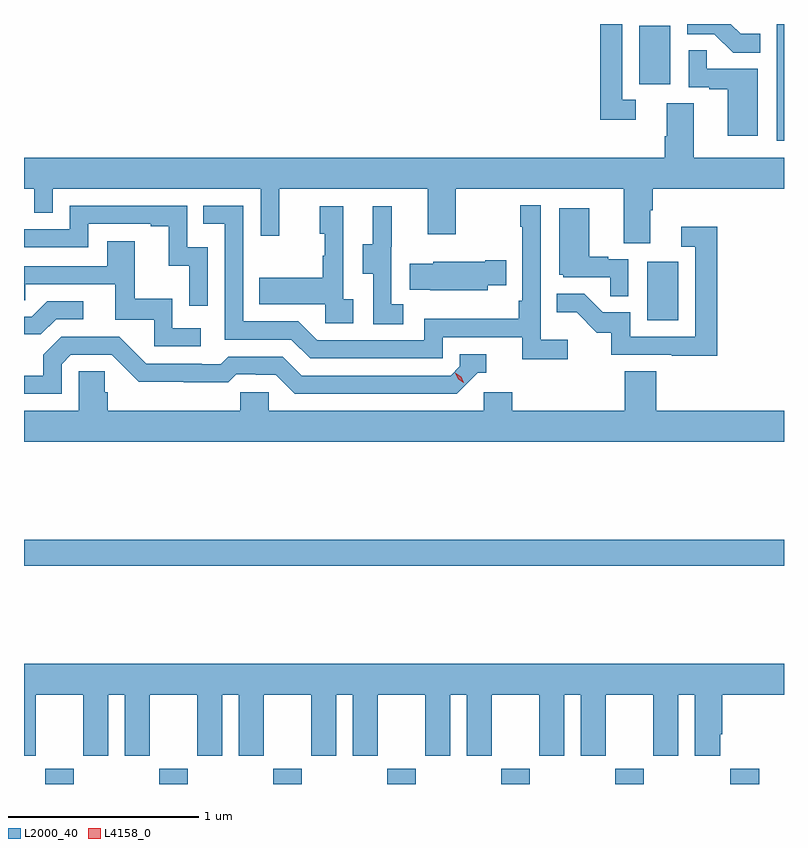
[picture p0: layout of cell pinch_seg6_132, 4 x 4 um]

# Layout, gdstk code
import gdstk
lib = gdstk.Library(unit=1e-6, precision=1e-09)
def R(c, l, rs):  # rectangles x0, y0, x1, y1
    for r in rs: c.add(gdstk.rectangle(r[:2], r[2:], *l))
def A(c, l, x, y, w, h, nx, ny, dx, dy):  # array of equal rectangles
    R(c, l, [(x+i*dx, y+j*dy, x+i*dx+w, y+j*dy+h) for i in range(nx) for j in range(ny)])
def P(c, l, *ps):  # polygons
    for p in ps: c.add(gdstk.Polygon(p, *l))
L2000_40 = (2000, 40)
L4158_0 = (4158, 0)

pinch_seg6_132 = lib.new_cell('pinch_seg6_132')
A(pinch_seg6_132, L2000_40, 950.073, 933.547, 0.15, 0.081, 6, 1, 0.6, 0)
R(pinch_seg6_132, L2000_40, [(953.677,933.547,953.831,933.628), (949.961,934.696,953.961,934.832), (953.24,935.988,953.404,936.295), (953.922,936.933,953.961,937.547), (953.198,937.23,953.362,937.537)])
P(pinch_seg6_132, L2000_40, [(953.182,937.149),(953.109,937.149),(953.109,937.547),(952.993,937.547),(952.993,937.044),(953.182,937.044)],
  [(953.837,937.495),(953.733,937.495),(953.681,937.547),(953.451,937.547),(953.451,937.494),(953.595,937.494),(953.693,937.396),(953.837,937.396)],
  [(953.824,937.311),(953.555,937.311),(953.555,937.409),(953.46,937.409),(953.46,937.215),(953.567,937.215),(953.567,937.203),(953.666,937.203),(953.666,936.96),(953.824,936.96)],
  [(953.257,936.568),(953.27,936.568),(953.27,936.68),(953.961,936.68),(953.961,936.844),(953.485,936.844),(953.485,937.13),(953.345,937.13),(953.345,936.956),(953.333,936.956),(953.333,936.844),(949.961,936.844),(949.961,936.68),(950.016,936.68),(950.016,936.553),(950.112,936.553),(950.112,936.68),(951.207,936.68),(951.207,936.432),(951.305,936.432),(951.305,936.68),(952.085,936.68),(952.085,936.441),(952.233,936.441),(952.233,936.68),(953.117,936.68),(953.117,936.394),(953.257,936.394)],
  [(952.822,935.884),(952.68,935.884),(952.68,936.592),(952.572,936.592),(952.572,936.479),(952.584,936.479),(952.584,936.091),(952.564,936.091),(952.564,935.995),(952.068,935.995),(952.068,935.883),(951.504,935.883),(951.405,935.982),(951.114,935.982),(951.114,936.591),(950.905,936.591),(950.905,936.495),(951.018,936.495),(951.018,935.886),(951.368,935.886),(951.467,935.787),(952.164,935.787),(952.164,935.898),(952.583,935.898),(952.583,935.782),(952.822,935.782)],
  [(950.928,936.372),(950.82,936.372),(950.82,936.591),(950.202,936.591),(950.202,936.468),(949.961,936.468),(949.961,936.372),(950.298,936.372),(950.298,936.495),(950.627,936.495),(950.627,936.483),(950.723,936.483),(950.723,936.275),(950.832,936.275),(950.832,936.063),(950.928,936.063)],
  [(951.958,936.071),(951.894,936.071),(951.894,936.375),(951.896,936.375),(951.896,936.589),(951.797,936.589),(951.797,936.387),(951.743,936.387),(951.743,936.232),(951.798,936.232),(951.798,935.968),(951.958,935.968)],
  [(951.694,936.098),(951.642,936.098),(951.642,936.589),(951.518,936.589),(951.518,936.444),(951.544,936.444),(951.544,936.326),(951.534,936.326),(951.534,936.211),(951.199,936.211),(951.199,936.071),(951.546,936.071),(951.546,935.973),(951.694,935.973)],
  [(953.142,936.309),(953.036,936.309),(953.036,936.322),(952.936,936.322),(952.936,936.577),(952.778,936.577),(952.778,936.228),(952.8,936.228),(952.8,936.213),(953.047,936.213),(953.047,936.115),(953.142,936.115)],
  [(953.609,936.481),(953.421,936.481),(953.421,936.375),(953.493,936.375),(953.493,935.901),(953.151,935.901),(953.151,936.03),(953.007,936.03),(952.909,936.128),(952.765,936.128),(952.765,936.029),(952.869,936.029),(952.976,935.922),(953.053,935.922),(953.053,935.805),(953.371,935.805),(953.371,935.8),(953.609,935.8)],
  [(950.89,935.946),(950.742,935.946),(950.742,936.1),(950.543,936.1),(950.543,936.403),(950.399,936.403),(950.399,936.273),(949.961,936.273),(949.961,936.093),(949.967,936.093),(949.967,936.177),(950.441,936.177),(950.441,935.991),(950.646,935.991),(950.646,935.85),(950.89,935.85)],
  [(952.401,936.173),(952.499,936.173),(952.499,936.303),(952.388,936.303),(952.388,936.295),(952.116,936.295),(952.116,936.286),(951.991,936.286),(951.991,936.149),(952.099,936.149),(952.099,936.146),(952.401,936.146)],
  [(950.13,935.994),(950.272,935.994),(950.272,936.087),(950.084,936.087),(950.003,936.006),(949.961,936.006),(949.961,935.914),(950.05,935.914)],
  [(950.16,935.757),(950.208,935.805),(950.424,935.805),(950.566,935.663),(950.802,935.663),(950.802,935.661),(951.035,935.661),(951.077,935.703),(951.18,935.703),(951.18,935.7),(951.287,935.7),(951.386,935.601),(952.239,935.601),(952.35,935.712),(952.393,935.712),(952.393,935.808),(952.254,935.808),(952.254,935.745),(952.206,935.697),(951.423,935.697),(951.324,935.796),(951.035,935.796),(950.996,935.757),(950.897,935.757),(950.897,935.76),(950.604,935.76),(950.463,935.901),(950.157,935.901),(950.063,935.807),(950.063,935.697),(949.961,935.697),(949.961,935.601),(950.16,935.601)],
  [(953.961,935.512),(953.288,935.512),(953.288,935.72),(953.123,935.72),(953.123,935.512),(952.532,935.512),(952.532,935.61),(952.38,935.61),(952.38,935.512),(951.249,935.512),(951.249,935.61),(951.099,935.61),(951.099,935.512),(950.402,935.512),(950.402,935.61),(950.387,935.61),(950.387,935.72),(950.25,935.72),(950.25,935.512),(949.961,935.512),(949.961,935.348),(953.961,935.348)],
  [(949.961,933.696),(950.022,933.696),(950.022,933.808),(950.023,933.808),(950.023,934.016),(950.273,934.016),(950.273,933.808),(950.274,933.808),(950.274,933.696),(950.404,933.696),(950.404,934.016),(950.492,934.016),(950.492,933.696),(950.622,933.696),(950.622,933.808),(950.623,933.808),(950.623,934.016),(950.873,934.016),(950.873,933.808),(950.874,933.808),(950.874,933.696),(951.004,933.696),(951.004,934.016),(951.092,934.016),(951.092,933.696),(951.222,933.696),(951.222,933.808),(951.223,933.808),(951.223,934.016),(951.473,934.016),(951.473,933.808),(951.474,933.808),(951.474,933.696),(951.604,933.696),(951.604,934.016),(951.692,934.016),(951.692,933.696),(951.822,933.696),(951.822,933.808),(951.823,933.808),(951.823,934.016),(952.073,934.016),(952.073,933.808),(952.074,933.808),(952.074,933.696),(952.204,933.696),(952.204,934.016),(952.292,934.016),(952.292,933.696),(952.422,933.696),(952.422,933.808),(952.423,933.808),(952.423,934.016),(952.673,934.016),(952.673,933.808),(952.674,933.808),(952.674,933.696),(952.804,933.696),(952.804,934.016),(952.892,934.016),(952.892,933.696),(953.022,933.696),(953.022,933.808),(953.023,933.808),(953.023,934.016),(953.273,934.016),(953.273,933.808),(953.274,933.808),(953.274,933.696),(953.404,933.696),(953.404,934.016),(953.492,934.016),(953.492,933.696),(953.626,933.696),(953.626,933.808),(953.636,933.808),(953.636,934.016),(953.961,934.016),(953.961,934.18),(949.961,934.18)])
P(pinch_seg6_132, L4158_0, [(952.276,935.658),(952.246,935.678),(952.231,935.712),(952.231,935.712),(952.231,935.712),(952.261,935.691),(952.276,935.658),(952.276,935.658)])

lib.write_gds('pinch_seg6_132.gds')
